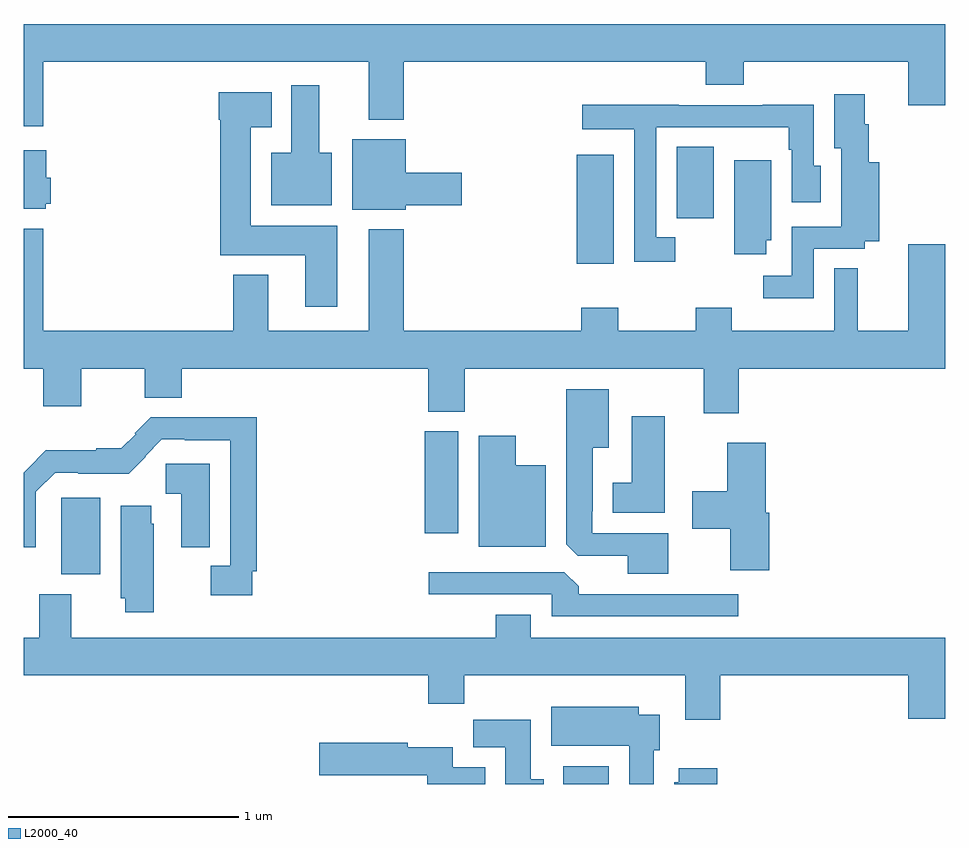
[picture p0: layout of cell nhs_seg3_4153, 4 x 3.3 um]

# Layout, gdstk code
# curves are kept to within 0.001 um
import gdstk
lib = gdstk.Library(unit=1e-6, precision=1e-09)
def R(c, l, rs):  # rectangles x0, y0, x1, y1
    for r in rs: c.add(gdstk.rectangle(r[:2], r[2:], *l))
def P(c, l, *ps):  # polygons
    for p in ps: c.add(gdstk.Polygon(p, *l))
L2000_40 = (2000, 40)

nhs_seg3_4153 = lib.new_cell('nhs_seg3_4153')
R(nhs_seg3_4153, L2000_40, [(331.343,744.4,331.54,744.478), (329.162,745.31,329.332,745.644), (330.74,745.488,330.886,745.932), (331.4,746.658,331.561,747.133), (331.835,746.856,331.996,747.167)])
P(nhs_seg3_4153, L2000_40, [(329.083,747.536),(330.497,747.536),(330.497,747.284),(330.65,747.284),(330.65,747.536),(331.961,747.536),(331.961,747.437),(332.126,747.437),(332.126,747.536),(332.84,747.536),(332.84,747.348),(333,747.348),(333,747.7),(329,747.7),(329,747.255),(329.083,747.255)],
  [(330.337,747.142),(330.283,747.142),(330.283,747.433),(330.161,747.433),(330.161,747.142),(330.074,747.142),(330.074,746.912),(330.337,746.912)],
  [(330.361,746.824),(329.986,746.824),(329.986,747.251),(330.076,747.251),(330.076,747.403),(329.846,747.403),(329.846,747.285),(329.852,747.285),(329.852,746.696),(330.221,746.696),(330.221,746.472),(330.361,746.472)],
  [(332.43,746.724),(332.65,746.724),(332.65,746.756),(332.715,746.756),(332.715,747.1),(332.668,747.1),(332.668,747.265),(332.65,747.265),(332.65,747.394),(332.519,747.394),(332.519,747.161),(332.549,747.161),(332.549,746.82),(332.334,746.82),(332.334,746.607),(332.211,746.607),(332.211,746.51),(332.43,746.51)],
  [(331.828,746.775),(331.746,746.775),(331.746,747.252),(332.092,747.252),(332.092,747.251),(332.322,747.251),(332.322,747.155),(332.334,747.155),(332.334,746.925),(332.461,746.925),(332.461,747.084),(332.43,747.084),(332.43,747.35),(332.209,747.35),(332.209,747.348),(331.843,747.348),(331.843,747.35),(331.425,747.35),(331.425,747.242),(331.65,747.242),(331.65,746.667),(331.828,746.667)],
  [(330.658,746.912),(330.901,746.912),(330.901,747.054),(330.658,747.054),(330.658,747.199),(330.425,747.199),(330.425,746.894),(330.658,746.894)],
  [(329.094,746.919),(329.116,746.919),(329.116,747.033),(329.098,747.033),(329.098,747.151),(329,747.151),(329,746.897),(329.094,746.897)],
  [(332.224,746.76),(332.245,746.76),(332.245,747.109),(332.084,747.109),(332.084,746.7),(332.224,746.7)],
  [(332.105,746.204),(333,746.204),(333,746.743),(332.84,746.743),(332.84,746.368),(332.62,746.368),(332.62,746.639),(332.519,746.639),(332.519,746.368),(332.073,746.368),(332.073,746.467),(331.918,746.467),(331.918,746.368),(331.581,746.368),(331.581,746.467),(331.421,746.467),(331.421,746.368),(330.65,746.368),(330.65,746.809),(330.497,746.809),(330.497,746.368),(330.061,746.368),(330.061,746.611),(329.909,746.611),(329.909,746.368),(329.083,746.368),(329.083,746.812),(329,746.812),(329,746.204),(329.084,746.204),(329.084,746.04),(329.248,746.04),(329.248,746.204),(329.525,746.204),(329.525,746.078),(329.686,746.078),(329.686,746.204),(330.755,746.204),(330.755,746.017),(330.915,746.017),(330.915,746.204),(331.952,746.204),(331.952,746.01),(332.105,746.01)],
  [(331.798,745.488),(331.467,745.488),(331.467,745.585),(331.471,745.585),(331.471,745.859),(331.54,745.859),(331.54,746.113),(331.355,746.113),(331.355,745.441),(331.404,745.392),(331.622,745.392),(331.622,745.313),(331.798,745.313)],
  [(331.783,745.996),(331.64,745.996),(331.64,745.708),(331.556,745.708),(331.556,745.577),(331.783,745.577)],
  [(329.991,745.324),(330.011,745.324),(330.011,745.993),(329.551,745.993),(329.481,745.923),(329.485,745.919),(329.423,745.857),(329.315,745.857),(329.315,745.849),(329.095,745.849),(329,745.752),(329,745.428),(329.052,745.428),(329.052,745.668),(329.136,745.752),(329.236,745.752),(329.236,745.748),(329.455,745.748),(329.529,745.821),(329.526,745.824),(329.598,745.896),(329.698,745.896),(329.698,745.892),(329.895,745.892),(329.895,745.348),(329.812,745.348),(329.812,745.22),(329.991,745.22)],
  [(331.267,745.783),(331.135,745.783),(331.135,745.912),(330.974,745.912),(330.974,745.43),(331.267,745.43)],
  [(332.237,745.577),(332.222,745.577),(332.222,745.882),(332.054,745.882),(332.054,745.671),(331.902,745.671),(331.902,745.508),(332.066,745.508),(332.066,745.329),(332.237,745.329)],
  [(329.806,745.79),(329.616,745.79),(329.616,745.661),(329.684,745.661),(329.684,745.429),(329.806,745.429)],
  [(329.563,745.53),(329.554,745.53),(329.554,745.609),(329.42,745.609),(329.42,745.206),(329.441,745.206),(329.441,745.146),(329.563,745.146)],
  [(332.101,745.224),(331.409,745.224),(331.409,745.258),(331.347,745.32),(330.759,745.32),(330.759,745.224),(331.293,745.224),(331.293,745.128),(332.101,745.128)],
  [(332.024,744.872),(332.84,744.872),(332.84,744.684),(333,744.684),(333,745.036),(331.201,745.036),(331.201,745.135),(331.049,745.135),(331.049,745.036),(329.206,745.036),(329.206,745.225),(329.066,745.225),(329.066,745.036),(329,745.036),(329,744.872),(330.755,744.872),(330.755,744.748),(330.911,744.748),(330.911,744.872),(331.871,744.872),(331.871,744.678),(332.024,744.678)],
  [(331.735,744.546),(331.762,744.546),(331.762,744.7),(331.669,744.7),(331.669,744.736),(331.289,744.736),(331.289,744.566),(331.628,744.566),(331.628,744.4),(331.735,744.4)],
  [(331.258,744.42),(331.201,744.42),(331.201,744.678),(330.952,744.678),(330.952,744.56),(331.091,744.56),(331.091,744.4),(331.258,744.4)],
  [(331.003,744.472),(330.862,744.472),(330.862,744.559),(330.666,744.559),(330.666,744.579),(330.282,744.579),(330.282,744.437),(330.752,744.437),(330.752,744.4),(331.003,744.4)],
  [(332.01,744.469),(331.844,744.469),(331.844,744.408),(331.823,744.408),(331.823,744.4),(332.01,744.4)])

lib.write_gds('nhs_seg3_4153.gds')
